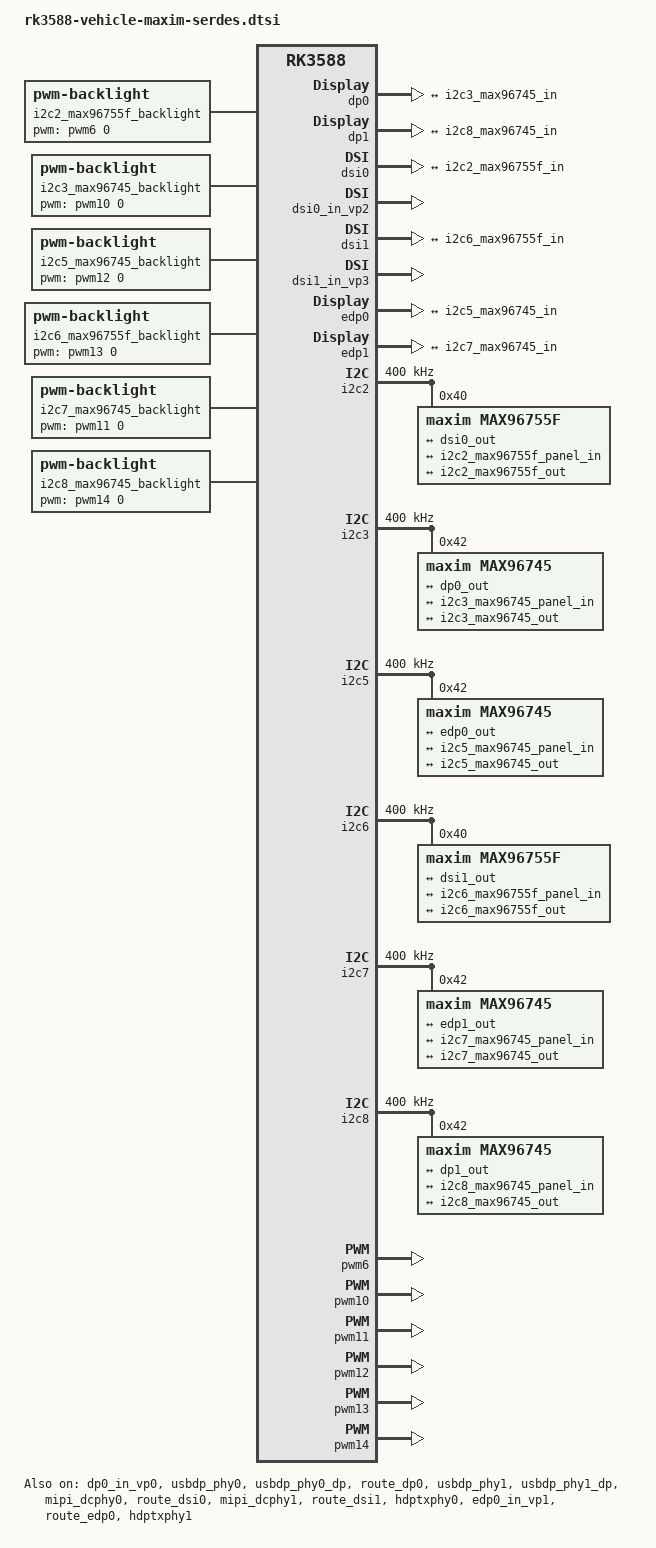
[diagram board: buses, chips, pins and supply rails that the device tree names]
// SPDX-License-Identifier: (GPL-2.0+ OR MIT)
/*
 * Copyright (c) 2022 Rockchip Electronics Co., Ltd.
 */

#include <dt-bindings/display/media-bus-format.h>

/ {
	aliases {
		pinctrl0 = &pinctrl;
	};

	backlight {
		compatible = "simple-bus";
		#address-cells = <1>;
		#size-cells = <0>;

		i2c2_max96755f_backlight: backlight@0 {
			compatible = "pwm-backlight";
			reg = <0>;
			pwms = <&pwm6 0 1000000 0>;
			brightness-levels = <0 4 8 16 32 64 128 255>;
			default-brightness-level = <6>;
		};

		i2c3_max96745_backlight: backlight@1 {
			compatible = "pwm-backlight";
			reg = <1>;
			pwms = <&pwm10 0 1000000 0>;
			brightness-levels = <0 4 8 16 32 64 128 255>;
			default-brightness-level = <6>;
		};

		i2c5_max96745_backlight: backlight@2 {
			compatible = "pwm-backlight";
			reg = <2>;
			pwms = <&pwm12 0 1000000 0>;
			brightness-levels = <0 4 8 16 32 64 128 255>;
			default-brightness-level = <6>;
		};

		i2c6_max96755f_backlight: backlight@3 {
			compatible = "pwm-backlight";
			reg = <3>;
			pwms = <&pwm13 0 1000000 0>;
			brightness-levels = <0 4 8 16 32 64 128 255>;
			default-brightness-level = <6>;
		};

		i2c7_max96745_backlight: backlight@4 {
			compatible = "pwm-backlight";
			reg = <4>;
			pwms = <&pwm11 0 1000000 0>;
			brightness-levels = <0 4 8 16 32 64 128 255>;
			default-brightness-level = <6>;
		};

		i2c8_max96745_backlight: backlight@5 {
			compatible = "pwm-backlight";
			reg = <5>;
			pwms = <&pwm14 0 1000000 0>;
			brightness-levels = <0 4 8 16 32 64 128 255>;
			default-brightness-level = <6>;
		};
	};
};

&dp0 {
	split-mode;
	force-hpd;
	status = "okay";

	ports {
		port@1 {
			reg = <1>;

			dp0_out: endpoint {
				remote-endpoint = <&i2c3_max96745_in>;
			};
		};
	};
};

&dp0_in_vp0 {
	status = "okay";
};

&usbdp_phy0 {
	rockchip,dp-lane-mux = <0 1 2 3>;
	status = "okay";
};

&usbdp_phy0_dp {
	max-link-rate = <2700>;	/* Maximum link rate supported by PHY (in Mbps) */
	status = "okay";
};

&route_dp0 {
	connect = <&vp0_out_dp0>;
	status = "okay";
};

&dp1 {
	force-hpd;
	status = "okay";

	ports {
		port@1 {
			reg = <1>;

			dp1_out: endpoint {
				remote-endpoint = <&i2c8_max96745_in>;
			};
		};
	};
};

&usbdp_phy1 {
	rockchip,dp-lane-mux = <0 1 2 3>;
	status = "okay";
};

&usbdp_phy1_dp {
	max-link-rate = <2700>;	/* Maximum link rate supported by PHY (in Mbps) */
	status = "okay";
};

&dsi0 {
	status = "okay";

	ports {
		#address-cells = <1>;
		#size-cells = <0>;

		port@1 {
			reg = <1>;

			dsi0_out: endpoint {
				remote-endpoint = <&i2c2_max96755f_in>;
			};
		};
	};
};

&mipi_dcphy0 {
	status = "okay";
};

&dsi0_in_vp2 {
	status = "okay";
};

&route_dsi0 {
	connect = <&vp2_out_dsi0>;
	status = "okay";
};

&dsi1 {
	status = "okay";

	ports {
		#address-cells = <1>;
		#size-cells = <0>;

		port@1 {
			reg = <1>;

			dsi1_out: endpoint {
				remote-endpoint = <&i2c6_max96755f_in>;
			};
		};
	};
};

&mipi_dcphy1 {
	status = "okay";
};

&dsi1_in_vp3 {
	status = "okay";
};

&route_dsi1 {
	connect = <&vp3_out_dsi1>;
	status = "okay";
};

&edp0 {
	split-mode;
	force-hpd;
	max-link-rate = <2700>;
	status = "okay";

	ports {
		port@1 {
			reg = <1>;

			edp0_out: endpoint {
				remote-endpoint = <&i2c5_max96745_in>;
			};
		};
	};
};

&hdptxphy0 {
	status = "okay";
};

&edp0_in_vp1 {
	status = "okay";
};

&route_edp0 {
	connect = <&vp1_out_edp0>;
	status = "okay";
};

&edp1 {
	force-hpd;
	max-link-rate = <2700>;
	status = "okay";

	ports {
		port@1 {
			reg = <1>;

			edp1_out: endpoint {
				remote-endpoint = <&i2c7_max96745_in>;
			};
		};
	};
};

&hdptxphy1 {
	status = "okay";
};

&i2c2 {
	pinctrl-0 = <&i2c2m4_xfer>;
	clock-frequency = <400000>;
	status = "okay";

	max96755f@40 {
		compatible = "maxim,max96755f";
		reg = <0x40>;
		pinctrl-names = "default";
		pinctrl-0 = <&i2c2_serdes_pins>;
		#address-cells = <1>;
		#size-cells = <0>;

		pinctrl {
			compatible = "maxim,max96755f-pinctrl";

			i2c2_max96755f_panel_max96752f_pins: panel-max96752f-pins {
				bl-pwm {
					pins = "gpio18";
					function = "GPIO_TX_4";
				};
			};
		};

		bridge {
			compatible = "maxim,max96755f-bridge";
			lock-gpios = <&gpio1 RK_PA4 GPIO_ACTIVE_HIGH>;
			dsi,lanes = <4>;
			dsi,flags = <(MIPI_DSI_MODE_VIDEO | MIPI_DSI_MODE_VIDEO_SYNC_PULSE)>;

			ports {
				#address-cells = <1>;
				#size-cells = <0>;

				port@0 {
					reg = <0>;

					i2c2_max96755f_in: endpoint {
						remote-endpoint = <&dsi0_out>;
					};
				};

				port@1 {
					reg = <1>;

					i2c2_max96755f_out: endpoint {
						remote-endpoint = <&i2c2_max96755f_panel_in>;
					};
				};
			};
		};

		gmsl@0 {
			reg = <0>;
			clock-frequency = <400000>;
			#address-cells = <1>;
			#size-cells = <0>;

			panel@48 {
				compatible = "maxim,deserializer-panel";
				reg = <0x48>;
				backlight = <&i2c2_max96755f_backlight>;
				pinctrl-names = "max96752f";
				pinctrl-0 = <&i2c2_max96755f_panel_max96752f_pins>;

				port {
					i2c2_max96755f_panel_in: endpoint {
						remote-endpoint = <&i2c2_max96755f_out>;
					};
				};
			};
		};
	};
};

&i2c3 {
	pinctrl-0 = <&i2c3m2_xfer>;
	clock-frequency = <400000>;
	status = "okay";

	max96745@42 {
		compatible = "maxim,max96745";
		reg = <0x42>;
		pinctrl-names = "default";
		pinctrl-0 = <&i2c3_serdes_pins>;
		#address-cells = <1>;
		#size-cells = <0>;

		pinctrl {
			compatible = "maxim,max96745-pinctrl";

			i2c3_max96745_panel_max96752f_pins: panel-max96752f-pins {
				bl-pwm {
					pins = "gpio0";
					function = "GPIO_TX_A_4";
				};
			};
		};

		bridge {
			compatible = "maxim,max96745-bridge";
			lock-gpios = <&gpio3 RK_PD4 GPIO_ACTIVE_HIGH>;

			ports {
				#address-cells = <1>;
				#size-cells = <0>;

				port@0 {
					reg = <0>;

					i2c3_max96745_in: endpoint {
						remote-endpoint = <&dp0_out>;
					};
				};

				port@1 {
					reg = <1>;

					i2c3_max96745_out: endpoint {
						remote-endpoint = <&i2c3_max96745_panel_in>;
					};
				};
			};
		};

		gmsl@0 {
			reg = <0>;
			clock-frequency = <400000>;
			#address-cells = <1>;
			#size-cells = <0>;

			panel@48 {
				compatible = "maxim,deserializer-panel";
				reg = <0x48>;
				backlight = <&i2c3_max96745_backlight>;
				pinctrl-names = "max96752f";
				pinctrl-0 = <&i2c3_max96745_panel_max96752f_pins>;

				port {
					i2c3_max96745_panel_in: endpoint {
						remote-endpoint = <&i2c3_max96745_out>;
					};
				};
			};
		};
	};
};

&i2c5 {
	clock-frequency = <400000>;
	status = "okay";

	max96745@42 {
		compatible = "maxim,max96745";
		reg = <0x42>;
		pinctrl-names = "default";
		pinctrl-0 = <&i2c5_serdes_pins>;
		#address-cells = <1>;
		#size-cells = <0>;

		pinctrl {
			compatible = "maxim,max96745-pinctrl";

			i2c5_max96745_panel_max96752f_pins: panel-max96752f-pins {
				bl-pwm {
					pins = "gpio0";
					function = "GPIO_TX_A_4";
				};
			};
		};

		bridge {
			compatible = "maxim,max96745-bridge";
			lock-gpios = <&gpio1 RK_PA6 GPIO_ACTIVE_HIGH>;

			ports {
				#address-cells = <1>;
				#size-cells = <0>;

				port@0 {
					reg = <0>;

					i2c5_max96745_in: endpoint {
						remote-endpoint = <&edp0_out>;
					};
				};

				port@1 {
					reg = <1>;

					i2c5_max96745_out: endpoint {
						remote-endpoint = <&i2c5_max96745_panel_in>;
					};
				};
			};
		};

		gmsl@0 {
			reg = <0>;
			clock-frequency = <400000>;
			#address-cells = <1>;
			#size-cells = <0>;

			panel@48 {
				compatible = "maxim,deserializer-panel";
				reg = <0x48>;
				backlight = <&i2c5_max96745_backlight>;
				pinctrl-names = "max96752f";
				pinctrl-0 = <&i2c5_max96745_panel_max96752f_pins>;

				port {
					i2c5_max96745_panel_in: endpoint {
						remote-endpoint = <&i2c5_max96745_out>;
					};
				};
			};
		};
	};
};

&i2c6 {
	pinctrl-0 = <&i2c6m3_xfer>;
	clock-frequency = <400000>;
	status = "okay";

	max96755f@40 {
		compatible = "maxim,max96755f";
		reg = <0x40>;
		pinctrl-names = "default";
		pinctrl-0 = <&i2c6_serdes_pins>;
		#address-cells = <1>;
		#size-cells = <0>;

		pinctrl {
			compatible = "maxim,max96755f-pinctrl";

			i2c6_max96755f_panel_max96752f_pins: panel-0-pins {
				bl-pwm {
					pins = "gpio18";
					function = "GPIO_TX_4";
				};
			};
		};

		bridge {
			compatible = "maxim,max96755f-bridge";
			lock-gpios = <&gpio1 RK_PA5 GPIO_ACTIVE_HIGH>;
			dsi,lanes = <4>;
			dsi,flags = <(MIPI_DSI_MODE_VIDEO | MIPI_DSI_MODE_VIDEO_SYNC_PULSE)>;

			ports {
				#address-cells = <1>;
				#size-cells = <0>;

				port@0 {
					reg = <0>;

					i2c6_max96755f_in: endpoint {
						remote-endpoint = <&dsi1_out>;
					};
				};

				port@1 {
					reg = <1>;

					i2c6_max96755f_out: endpoint {
						remote-endpoint = <&i2c6_max96755f_panel_in>;
					};
				};
			};
		};

		gmsl@0 {
			reg = <0>;
			clock-frequency = <400000>;
			#address-cells = <1>;
			#size-cells = <0>;

			panel@48 {
				compatible = "maxim,deserializer-panel";
				reg = <0x48>;
				backlight = <&i2c6_max96755f_backlight>;
				pinctrl-names = "max96752f";
				pinctrl-0 = <&i2c6_max96755f_panel_max96752f_pins>;

				port {
					i2c6_max96755f_panel_in: endpoint {
						remote-endpoint = <&i2c6_max96755f_out>;
					};
				};
			};
		};
	};
};

&i2c7 {
	pinctrl-0 = <&i2c7m3_xfer>;
	clock-frequency = <400000>;
	status = "okay";

	max96745@42 {
		compatible = "maxim,max96745";
		reg = <0x42>;
		pinctrl-names = "default";
		pinctrl-0 = <&i2c7_serdes_pins>;
		#address-cells = <1>;
		#size-cells = <0>;

		pinctrl {
			compatible = "maxim,max96745-pinctrl";

			i2c7_max96745_panel_max96752f_pins: panel-max96752f-pins {
				bl-pwm {
					pins = "gpio0";
					function = "GPIO_TX_A_4";
				};
			};
		};

		bridge {
			compatible = "maxim,max96745-bridge";
			lock-gpios = <&gpio1 RK_PA2 GPIO_ACTIVE_HIGH>;

			ports {
				#address-cells = <1>;
				#size-cells = <0>;

				port@0 {
					reg = <0>;

					i2c7_max96745_in: endpoint {
						remote-endpoint = <&edp1_out>;
					};
				};

				port@1 {
					reg = <1>;

					i2c7_max96745_out: endpoint {
						remote-endpoint = <&i2c7_max96745_panel_in>;
					};
				};
			};
		};

		gmsl@0 {
			reg = <0>;
			clock-frequency = <400000>;
			#address-cells = <1>;
			#size-cells = <0>;

			panel@48 {
				compatible = "maxim,deserializer-panel";
				reg = <0x48>;
				backlight = <&i2c7_max96745_backlight>;
				pinctrl-names = "max96752f";
				pinctrl-0 = <&i2c7_max96745_panel_max96752f_pins>;

				port {
					i2c7_max96745_panel_in: endpoint {
						remote-endpoint = <&i2c7_max96745_out>;
					};
				};
			};
		};
	};
};

&i2c8 {
	pinctrl-0 = <&i2c8m2_xfer>;
	clock-frequency = <400000>;
	status = "okay";

	max96745@42 {
		compatible = "maxim,max96745";
		reg = <0x42>;
		pinctrl-names = "default";
		pinctrl-0 = <&i2c8_serdes_pins>;
		#address-cells = <1>;
		#size-cells = <0>;

		pinctrl {
			compatible = "maxim,max96745-pinctrl";

			i2c8_max96745_panel_max96752f_pins: panel-max96752f-pins {
				bl-pwm {
					pins = "gpio0";
					function = "GPIO_TX_A_4";
				};
			};
		};

		bridge {
			compatible = "maxim,max96745-bridge";
			lock-gpios = <&gpio3 RK_PD2 GPIO_ACTIVE_HIGH>;

			ports {
				#address-cells = <1>;
				#size-cells = <0>;

				port@0 {
					reg = <0>;

					i2c8_max96745_in: endpoint {
						remote-endpoint = <&dp1_out>;
					};
				};

				port@1 {
					reg = <1>;

					i2c8_max96745_out: endpoint {
						remote-endpoint = <&i2c8_max96745_panel_in>;
					};
				};
			};
		};

		gmsl@0 {
			reg = <0>;
			clock-frequency = <400000>;
			#address-cells = <1>;
			#size-cells = <0>;

			panel@48 {
				compatible = "maxim,deserializer-panel";
				reg = <0x48>;
				backlight = <&i2c8_max96745_backlight>;
				pinctrl-names = "max96752f";
				pinctrl-0 = <&i2c8_max96745_panel_max96752f_pins>;

				port {
					i2c8_max96745_panel_in: endpoint {
						remote-endpoint = <&i2c8_max96745_out>;
					};
				};
			};
		};
	};
};

&pinctrl {
	serdes {
		i2c2_serdes_pins: i2c2-serdes-pins {
			rockchip,pins =
				<1 RK_PA4 RK_FUNC_GPIO &pcfg_pull_up>;
		};

		i2c3_serdes_pins: i2c3-serdes-pins {
			rockchip,pins =
				<3 RK_PD4 RK_FUNC_GPIO &pcfg_pull_up>;
		};

		i2c5_serdes_pins: i2c5-serdes-pins {
			rockchip,pins =
				<1 RK_PA6 RK_FUNC_GPIO &pcfg_pull_up>;
		};

		i2c6_serdes_pins: i2c6-serdes-pins {
			rockchip,pins =
				<1 RK_PA5 RK_FUNC_GPIO &pcfg_pull_up>;
		};

		i2c7_serdes_pins: i2c7-serdes-pins {
			rockchip,pins =
				<1 RK_PA2 RK_FUNC_GPIO &pcfg_pull_up>;
		};

		i2c8_serdes_pins: i2c8-serdes-pins {
			rockchip,pins =
				<3 RK_PD2 RK_FUNC_GPIO &pcfg_pull_up>;
		};
	};
};

&pwm6 {
	pinctrl-0 = <&pwm6m1_pins>;
	status = "okay";
};

&pwm10 {
	pinctrl-0 = <&pwm10m2_pins>;
	status = "okay";
};

&pwm11 {
	pinctrl-0 = <&pwm11m3_pins>;
	status = "okay";
};

&pwm12 {
	pinctrl-0 = <&pwm12m1_pins>;
	status = "okay";
};

&pwm13 {
	pinctrl-0 = <&pwm13m1_pins>;
	status = "okay";
};

&pwm14 {
	pinctrl-0 = <&pwm14m0_pins>;
	status = "okay";
};
